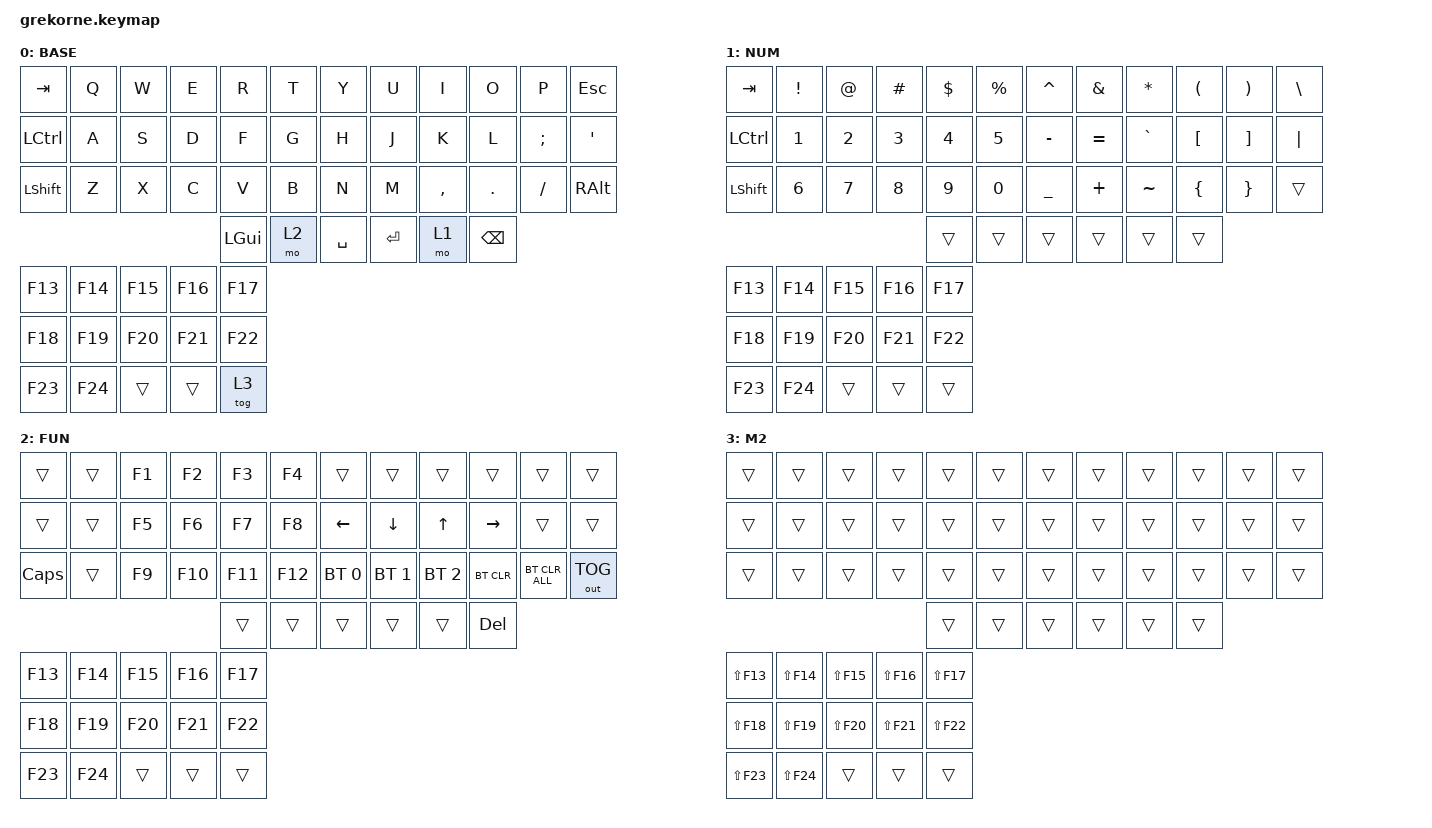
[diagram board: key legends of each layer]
/*
 * Copyright (c) 2020 The ZMK Contributors
 *
 * SPDX-License-Identifier: MIT
 */

#include <behaviors.dtsi>
#include <dt-bindings/zmk/keys.h>
#include <dt-bindings/zmk/bt.h>
#include <dt-bindings/zmk/pointing.h>
#include <dt-bindings/zmk/outputs.h>

/ {
    behaviors {
        rot_kp: sensor_rotate_kp {
            compatible = "zmk,behavior-sensor-rotate-var";
            #sensor-binding-cells = <2>;
            bindings = <&kp>, <&kp>;
        };
    };

    keymap {
        compatible = "zmk,keymap"; 

        BASE {
            display-name = "BASE";
// ------------------------------------------------------------------------------------------------
// | TAB |  Q |  W |  E |  R |  T |   |  Y |  U |  I |  O |  P | ESC |
// |CTRL |  A |  S |  D |  F |  G |   |  H |  J |  K |  L |  ; |  '  |
// |SHFT |  Z |  X |  C |  V |  B |   |  N |  M |  , |  . |  / |ALT |
//                | GUI | L2 | SPC |   | ENT | L1 | BSPC |
            bindings = <
&kp TAB     &kp Q  &kp W  &kp E     &kp R  &kp T        &kp Y    &kp U  &kp I          &kp O    &kp P     &kp ESC
&kp LCTRL   &kp A  &kp S  &kp D     &kp F  &kp G        &kp H    &kp J  &kp K          &kp L    &kp SEMI  &kp SQT
&kp LSHFT   &kp Z  &kp X  &kp C     &kp V  &kp B        &kp N    &kp M  &kp COMMA      &kp DOT  &kp FSLH  &kp RALT
                                &kp LGUI  &mo 2  &kp SPACE    &kp RET  &mo 1  &kp BSPC
&kp F13  &kp F14  &kp F15  &kp F16  &kp F17
&kp F18  &kp F19  &kp F20  &kp F21  &kp F22
&kp F23  &kp F24  &trans   &trans   &tog 3
            >;
        };

        NUM {
            display-name = "NUM";
// ------------------------------------------------------------------------------------------------
// symbols / numbers
            bindings = <
&kp TAB           &kp EXCL  &kp AT  &kp HASH     &kp DLLR  &kp PRCNT        &kp CARET       &kp AMPS    &kp ASTRK   &kp LPAR  &kp RPAR  &kp BSLH
&kp LCTRL         &kp N1    &kp N2  &kp N3       &kp N4    &kp N5           &kp MINUS       &kp EQUAL   &kp GRAVE   &kp LBKT  &kp RBKT  &kp PIPE
&kp LSHFT         &kp N6    &kp N7  &kp N8       &kp N9    &kp N0           &kp UNDER       &kp PLUS    &kp TILDE   &kp LBRC  &kp RBRC  &trans
                                    &trans       &trans    &trans           &trans          &trans      &trans
&kp F13  &kp F14  &kp F15  &kp F16  &kp F17
&kp F18  &kp F19  &kp F20  &kp F21  &kp F22
&kp F23  &kp F24  &trans   &trans   &trans
            >;
        };

        FUN {
            display-name = "FUN";
// ------------------------------------------------------------------------------------------------
// function keys + mouse
            bindings = <
&trans     &trans  &kp F1  &kp F2   &kp F3   &kp F4         &trans          &trans          &trans        &trans         &trans             &trans
&trans     &trans  &kp F5  &kp F6   &kp F7   &kp F8         &kp LEFT        &kp DOWN        &kp UP        &kp RIGHT      &trans             &trans
&kp CAPSLOCK     &trans  &kp F9  &kp F10  &kp F11  &kp F12        &bt BT_SEL 0    &bt BT_SEL 1    &bt BT_SEL 2  &bt BT_CLR     &bt BT_CLR_ALL     &out OUT_TOG
                           &trans   &trans   &trans         &trans          &trans          &kp DELETE
&kp F13  &kp F14  &kp F15  &kp F16  &kp F17
&kp F18  &kp F19  &kp F20  &kp F21  &kp F22
&kp F23  &kp F24  &trans   &trans   &trans
            >;
        };

        Macro {
            display-name = "M2";
// ------------------------------------------------------------------------------------------------
// function keys + mouse
            bindings = <
&trans     &trans  &trans  &trans   &trans   &trans         &trans  &trans  &trans  &trans  &trans  &trans
&trans     &trans  &trans  &trans   &trans   &trans         &trans  &trans  &trans  &trans  &trans  &trans
&trans     &trans  &trans  &trans   &trans   &trans         &trans  &trans  &trans  &trans  &trans  &trans
                           &trans   &trans   &trans         &trans  &trans  &trans
&kp LS(F13)  &kp LS(F14)  &kp LS(F15)  &kp LS(F16)  &kp LS(F17)
&kp LS(F18)  &kp LS(F19)  &kp LS(F20)  &kp LS(F21)  &kp LS(F22)
&kp LS(F23)  &kp LS(F24)  &trans   &trans   &trans
            >;
        };
    };
};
